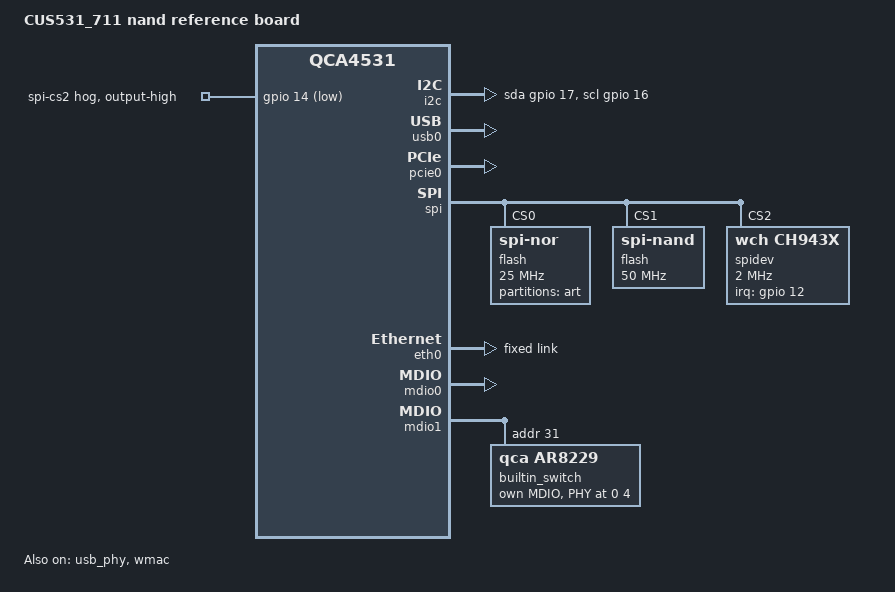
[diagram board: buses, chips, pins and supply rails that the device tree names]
// SPDX-License-Identifier: ISC
// Copyright (c) 2022,2024, Qualcomm Innovation Center, Inc. All rights reserved.

/dts-v1/;

#include <dt-bindings/gpio/gpio.h>
#include <dt-bindings/input/input.h>
#include <dt-bindings/clock/ath79-clk.h>
#include <dt-bindings/interrupt-controller/irq.h>

#include "qca4531.dtsi"

/ {
	compatible = "qca,cus531_711", "qca,ath79";
	model = "CUS531_711 nand reference board";

	i2c {
		compatible = "i2c-gpio";
		gpios = <&gpio 17 GPIO_ACTIVE_HIGH /* sda */
			 &gpio 16 GPIO_ACTIVE_HIGH /* scl */
			>;
	};
};


&usb0 {
	status = "okay";
};

&usb_phy {
	status = "okay";
};

&pinmux {
	// gpio 14 as spi cs2
	spi_cs2_pins: pinmux_spi_cs2_pins {
		pinctrl-single,bits = <0x0c 0x0b0000 0xff0000>;
	};
	wl_pins: pinmux_wl_pins {
		pinctrl-single,bits = <0x0 0x350000 0xff0000>;
	};
	bt_active_pins: pinmux_bt_active_pins {
		pinctrl-single,bits = <0x2c 0x010000 0xff0000>;
	};
	bt_pri_pins: pinmux_bt_pri_pins {
		pinctrl-single,bits = <0x30 0x00 0xff>;
	};
};

&pcie0 {
	status = "okay";
};

&gpio {
	spi-cs2 {
		gpio-hog;
		gpios = <14 GPIO_ACTIVE_LOW>;
		output-high;
	};
};

&spi {
	status = "okay";
	spi-bus-num = /bits/ 16 <0>;
	spi-chipselect = /bits/ 16 <3>;
	pinctrl-names="default";
	pinctrl-0 = <&spi_cs2_pins>,
			<&jtag_disable_pins>;

	flash@0 {
		#address-cells = <1>;
		#size-cells = <1>;
		compatible = "jedec,spi-nor";
		reg = <0>;
		spi-max-frequency = <25000000>;

		partitions {
			compatible = "fixed-partitions";
			#address-cells = <1>;
			#size-cells = <1>;
			art: partition@70000 {
				label = "art";
				reg = <0x70000 0x010000>;
				read-only;
			};
		};
	};

	flash@1 {
		#address-cells = <1>;
		#size-cells = <1>;
		compatible = "spi-nand";
		reg = <1>;
		spi-max-frequency = <50000000>;
	};

	spidev@2 {
		#address-cells = <1>;
		#size-cells = <1>;
		compatible = "wch,ch943x";
		reg = <2>;
		spi-max-frequency = <2000000>;
		interrupt-parent = <&gpio>;
		interrupts = <12 IRQ_TYPE_EDGE_FALLING>;
	};
};

&wmac {
	status = "okay";
	mtd-cal-data = <&art 0x1000>;

	//GPIO for BT coex
	pinctrl-names="default";
	pinctrl-0 = <&wl_pins>,
			<&bt_active_pins>,
			<&bt_pri_pins>;
	qca,bt-active-gpios = /bits/ 8 <0>; //GPIO0 for BT active
	qca,bt-priority-gpios = /bits/ 8 <1>; //GPIO1 for BT priority
	qca,wlan-active-gpios = /bits/ 8 <2>; //GPIO2 for WLAN active
};

&eth0 {
	status = "okay";
	compatible = "qca,qca9530-eth", "syscon";
	pll-data = <0x00001616 0x00000101 0x16000000>;
	pll-reg = <0x4 0x2c 17>;
	pll-handle = <&pll>;

	reset-names = "mac";
	resets = <&rst 9>;

	mtd-mac-address = <&art 0x0>;

	fixed-link {
		speed = <100>;
		full-duplex;
	};
};

&mdio0 {
	status = "okay";
};

&mdio1 {
	status = "okay";
	resets = <&rst 23>;
	reset-names = "mdio";
	builtin-switch;

	builtin_switch: switch0@1f {
		compatible = "qca,ar8229";

		reg = <0x1f>;
		resets = <&rst 8>;
		reset-names = "switch";
		phy-mode = "gmii";
		qca,phy4-mii-enable;
		qca,mib-poll-interval = <500>;

		mdio-bus {
			#address-cells = <1>;
			#size-cells = <0>;

			swphy0: ethernet-phy@0 {
				reg = <0>;
				phy-mode = "mii";
			};

			swphy4: ethernet-phy@4 {
				reg = <4>;
				phy-mode = "mii";
			};
		};
	};
};

&eth1 {
	status = "okay";

	compatible = "qca,qca9530-eth", "syscon", "simple-mfd";
	resets = <&rst 13>;
	reset-names = "mac";

	phy-mode = "gmii";

	phy-handle = <&swphy4>;
	mtd-mac-address = <&art 0x6>;
	fixed-link {
		speed = <1000>;
		full-duplex;
	};
};

